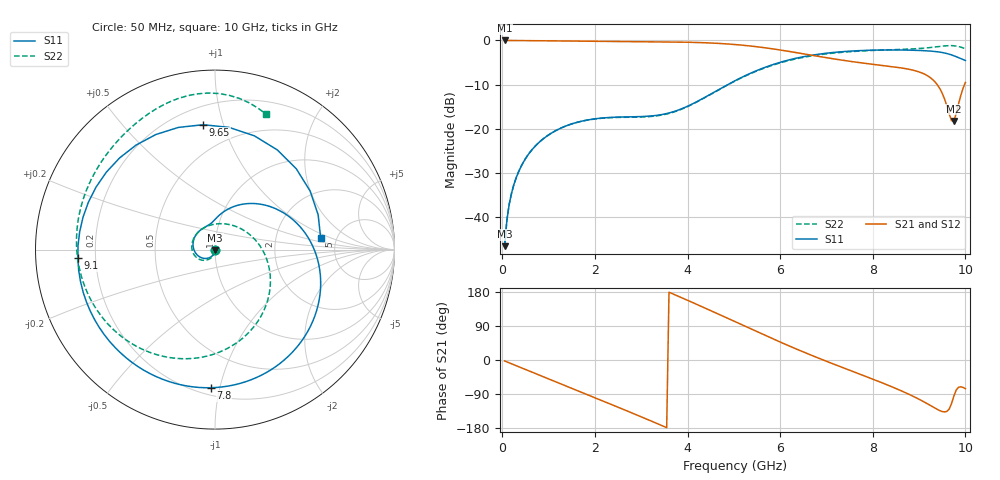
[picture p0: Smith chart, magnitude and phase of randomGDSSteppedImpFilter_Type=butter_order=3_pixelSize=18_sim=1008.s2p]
! freq	dB(S11)	phase(S11)	dB(S12)	phase(S12)
!  dB(S21)	phase(S21)	dB(S22)	phase(S22)
!S-par simulation data
#  GHz  S  DB  R 50
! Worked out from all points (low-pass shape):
!   200 points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, 50 MHz to 10 GHz, reference 50 ohm
!   highest |S21| = 0.00 dB at 50 MHz (marker M1); lowest = -18.3 dB at 9.75 GHz (marker M2)
!   |S21| within 3 dB of the highest: start of sweep to 6.484 GHz
!   lowest |S11| = -46.7 dB at 50 MHz (marker M3), VSWR 1.01, Z = 50 - j0.463 ohm
!   |S11| at or under -10 dB: start of sweep to 4.87 GHz
!   |S22| runs from -46.7 to -1.2 dB; largest |S21 - S12| = 0
!   S11 on the Smith chart (normalised r, x): 50 MHz: 1.00, -0.01; 7.8 GHz: 0.25, -0.94; 9.1 GHz: 0.13, -0.03; 9.65 GHz: 0.32, +0.86; 10 GHz: 3.74, +0.76
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0.05  -46.68 -92.1  -0.00 -2.5  -0.00 -2.5  -46.66 -91.5
0.1  -40.66 -95.4  -0.01 -5.1  -0.01 -5.1  -40.64 -94.2
0.2  -34.66 -101.3  -0.02 -10.1  -0.02 -10.1  -34.64 -99.0
0.5  -26.84 -118.4  -0.04 -25.0  -0.04 -25.0  -26.82 -112.6
1.15  -20.49 -154.6  -0.10 -57.2  -0.10 -57.2  -20.48 -141.8
1.75  -18.23 172.8  -0.16 -87.0  -0.16 -87.0  -18.25 -169.5
2.5  -17.39 135.3  -0.22 -124.5  -0.22 -124.5  -17.46 152.5
3.4  -16.90 102.3  -0.30 -170.7  -0.30 -170.7  -17.01 92.7
4.15  -14.17 82.2  -0.45 149.5  -0.45 149.5  -14.24 33.1
4.6  -11.58 66.0  -0.63 124.8  -0.63 124.8  -11.64 0.6
5.05  -9.00 45.7  -0.95 99.7  -0.95 99.7  -9.08 -28.6
5.9  -5.28 2.1  -2.01 52.7  -2.01 52.7  -5.41 -77.9
6.7  -3.33 -38.6  -3.39 11.3  -3.39 11.3  -3.47 -119.4
7.8  -2.27 -91.7  -5.15 -41.1  -5.15 -41.1  -2.37 -170.8
8.35  -2.15 -120.4  -5.86 -67.5  -5.86 -67.5  -2.13 164.3
8.75  -2.19 -146.0  -6.48 -88.7  -6.48 -88.7  -1.98 146.0
9.1  -2.32 -176.4  -7.55 -110.1  -7.55 -110.1  -1.75 129.2
9.4  -2.58 144.6  -10.14 -130.7  -10.14 -130.7  -1.42 113.0
9.65  -3.11 95.4  -16.65 -129.4  -16.65 -129.4  -1.18 96.3
9.75  -3.47 70.9  -18.26 -95.5  -18.26 -95.5  -1.21 88.7
9.9  -4.12 31.6  -12.50 -70.6  -12.50 -70.6  -1.51 77.0
10  -4.55 6.4  -9.55 -75.7  -9.55 -75.7  -1.86 69.6
